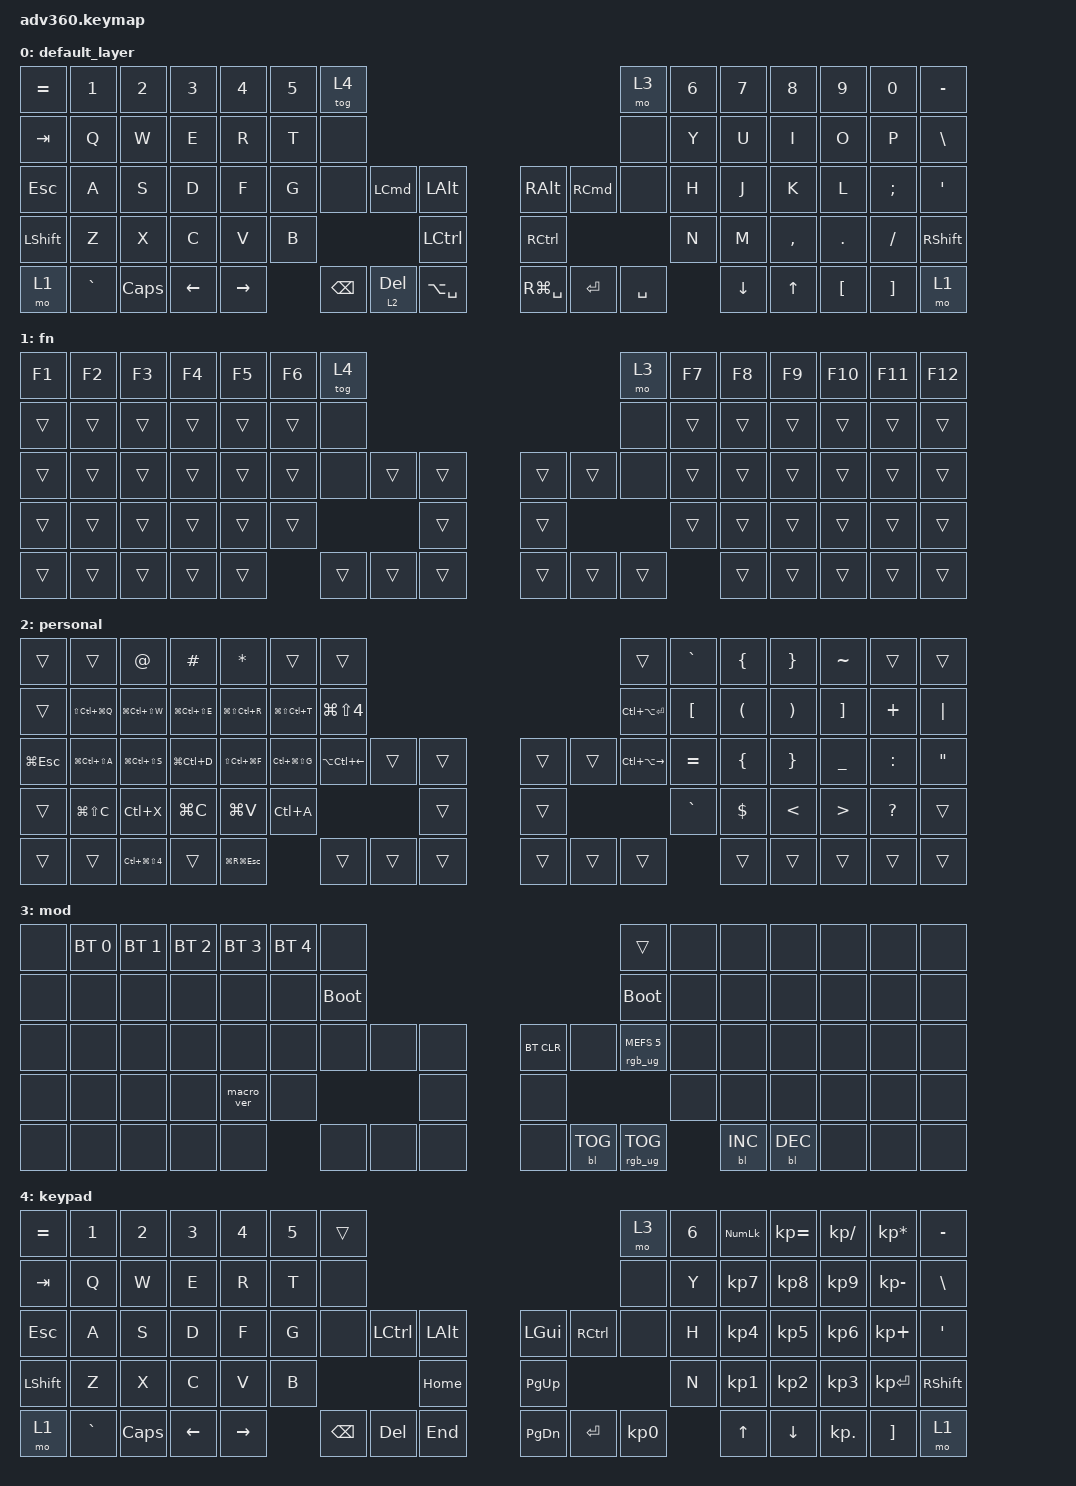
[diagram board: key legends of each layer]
#include <behaviors.dtsi>
#include <dt-bindings/zmk/backlight.h>
#include <dt-bindings/zmk/bt.h>
#include <dt-bindings/zmk/keys.h>
#include <dt-bindings/zmk/rgb.h>

/ {
    behaviors {
        #include "macros.dtsi"
      #include "version.dtsi"
      #ifndef VERSION_MACRO

        macro_ver: macro_ver {
            compatible = "zmk,behavior-macro";
            label = "macro_version";
            #binding-cells = <0>;
            bindings = <&kp RET>;
        };

        #endif

        hm: homerow_mods {
            compatible = "zmk,behavior-hold-tap";
            label = "HOMEROW_MODS";
            #binding-cells = <2>;
            tapping-term-ms = <200>;
            quick_tap_ms = <175>;
            flavor = "tap-preferred";
            bindings = <&kp>, <&kp>;
        };

        hml: hml {
            compatible = "zmk,behavior-hold-tap";
            label = "HOME_ROW_MODS_LEFT";
            bindings = <&kp>, <&kp>;

            #binding-cells = <2>;
            tapping-term-ms = <280>;
            quick-tap-ms = <175>;
            require-prior-idle-ms = <150>;
            flavor = "balanced";
            hold-trigger-on-release;
            hold-trigger-key-positions = <29 30 31 32 35 36 52 65 66 67 0 1 2 3 4 5 6 14 15 16 17 18 19 20 28 29 30 31 32 33 34 35 46 47 48 49 50 51 60 61 62 63 64>;
        };

        hmr: hmr {
            compatible = "zmk,behavior-hold-tap";
            label = "HOME_ROW_MODS_RIGHT";
            bindings = <&kp>, <&kp>;

            #binding-cells = <2>;
            tapping-term-ms = <280>;
            quick-tap-ms = <175>;
            require-prior-idle-ms = <150>;
            flavor = "balanced";
            hold-trigger-on-release;
            hold-trigger-key-positions = <7 8 9 10 11 12 13 21 22 23 24 25 26 27 38 39 40 41 42 43 44 45 53 54 55 56 57 58 59 68 69 70 71 72 73 74 75 37>;
        };
    };

    macros {
    };

    keymap {
        compatible = "zmk,keymap";

        default_layer {
            bindings = <
&kp EQUAL       &kp N1     &kp N2    &kp N3    &kp N4     &kp N5  &tog 4                                                                                       &mo 3      &kp N6  &kp N7    &kp N8        &kp N9    &kp N0    &kp MINUS
&kp TAB         &kp Q      &kp W     &kp E     &kp R      &kp T   &none                                                                                        &none      &kp Y   &kp U     &kp I         &kp O     &kp P     &kp BSLH
&kp ESC         &kp A      &kp S     &kp D     &kp F      &kp G   &none          &kp LEFT_COMMAND  &kp LEFT_ALT          &kp RIGHT_ALT      &kp RIGHT_COMMAND  &none      &kp H   &kp J     &kp K         &kp L     &kp SEMI  &kp SQT
&kp LEFT_SHIFT  &kp Z      &kp X     &kp C     &kp V      &kp B                                    &kp LEFT_CONTROL      &kp RIGHT_CONTROL                                &kp N   &kp M     &kp COMMA     &kp DOT   &kp FSLH  &kp RIGHT_SHIFT
&mo 1           &kp GRAVE  &kp CAPS  &kp LEFT  &kp RIGHT          &kp BACKSPACE  &lt 2 DELETE      &kp LA(SPACE)         &kp RG(SPACE)      &kp ENTER          &kp SPACE          &kp DOWN  &kp UP_ARROW  &kp LBKT  &kp RBKT  &mo 1
            >;
        };

        fn {
            bindings = <
&kp F1  &kp F2  &kp F3  &kp F4  &kp F5  &kp F6  &tog 4                                      &mo 3   &kp F7  &kp F8  &kp F9  &kp F10  &kp F11  &kp F12
&trans  &trans  &trans  &trans  &trans  &trans  &none                                       &none   &trans  &trans  &trans  &trans   &trans   &trans
&trans  &trans  &trans  &trans  &trans  &trans  &none   &trans  &trans      &trans  &trans  &none   &trans  &trans  &trans  &trans   &trans   &trans
&trans  &trans  &trans  &trans  &trans  &trans                  &trans      &trans                  &trans  &trans  &trans  &trans   &trans   &trans
&trans  &trans  &trans  &trans  &trans          &trans  &trans  &trans      &trans  &trans  &trans          &trans  &trans  &trans   &trans   &trans
            >;
        };

        personal {
            bindings = <
&trans       &trans             &kp AT_SIGN               &kp HASH           &kp ASTERISK       &trans             &trans                                                    &trans             &kp GRAVE         &kp LEFT_BRACE        &kp RIGHT_BRACE        &kp TILDE          &trans        &trans
&trans       &kp LS(LC(LG(Q)))  &kp LG(LC(LS(W)))         &kp LG(LC(LS(E)))  &kp LG(LS(LC(R)))  &kp LG(LS(LC(T)))  &kp LG(LS(NUMBER_4))                                      &kp LC(LA(ENTER))  &kp LEFT_BRACKET  &kp LEFT_PARENTHESIS  &kp RIGHT_PARENTHESIS  &kp RIGHT_BRACKET  &kp PLUS      &kp PIPE
&kp LG(ESC)  &kp LG(LC(LS(A)))  &kp LG(LC(LS(S)))         &kp LG(LC(D))      &kp LS(LC(LG(F)))  &kp LC(LG(LS(G)))  &kp LA(LC(LEFT))      &trans  &trans      &trans  &trans  &kp LC(LA(RIGHT))  &kp EQUAL         &kp LEFT_BRACE        &kp RIGHT_BRACE        &kp UNDERSCORE     &kp COLON     &kp DOUBLE_QUOTES
&trans       &kp LG(LS(C))      &kp LC(X)                 &kp LG(C)          &kp LG(V)          &kp LC(A)                                        &trans      &trans                             &kp GRAVE         &kp DOLLAR            &kp LESS_THAN          &kp GREATER_THAN   &kp QUESTION  &trans
&trans       &trans             &kp LC(LG(LS(NUMBER_4)))  &trans             &kp LG(RG(ESC))                       &trans                &trans  &trans      &trans  &trans  &trans                               &trans                &trans                 &trans             &trans        &trans
            >;
        };

        mod {
            bindings = <
&none  &bt BT_SEL 0  &bt BT_SEL 1  &bt BT_SEL 2  &bt BT_SEL 3  &bt BT_SEL 4  &none                                                  &trans                  &none  &none       &none       &none  &none  &none
&none  &none         &none         &none         &none         &none         &bootloader                                            &bootloader             &none  &none       &none       &none  &none  &none
&none  &none         &none         &none         &none         &none         &none        &none  &none      &bt BT_CLR  &none       &rgb_ug RGB_MEFS_CMD 5  &none  &none       &none       &none  &none  &none
&none  &none         &none         &none         &macro_ver    &none                             &none      &none                                           &none  &none       &none       &none  &none  &none
&none  &none         &none         &none         &none                       &none        &none  &none      &none       &bl BL_TOG  &rgb_ug RGB_TOG                &bl BL_INC  &bl BL_DEC  &none  &none  &none
            >;
        };

        keypad {
            bindings = <
&kp EQUAL  &kp N1     &kp N2    &kp N3    &kp N4     &kp N5  &trans                                                   &mo 3      &kp N6  &kp KP_NUM  &kp KP_EQUAL  &kp KP_DIVIDE  &kp KP_MULTIPLY  &kp MINUS
&kp TAB    &kp Q      &kp W     &kp E     &kp R      &kp T   &none                                                    &none      &kp Y   &kp KP_N7   &kp KP_N8     &kp KP_N9      &kp KP_MINUS     &kp BSLH
&kp ESC    &kp A      &kp S     &kp D     &kp F      &kp G   &none     &kp LCTRL  &kp LALT      &kp LGUI   &kp RCTRL  &none      &kp H   &kp KP_N4   &kp KP_N5     &kp KP_N6      &kp KP_PLUS      &kp SQT
&kp LSHFT  &kp Z      &kp X     &kp C     &kp V      &kp B                        &kp HOME      &kp PG_UP                        &kp N   &kp KP_N1   &kp KP_N2     &kp KP_N3      &kp KP_ENTER     &kp RSHFT
&mo 1      &kp GRAVE  &kp CAPS  &kp LEFT  &kp RIGHT          &kp BSPC  &kp DEL    &kp END       &kp PG_DN  &kp ENTER  &kp KP_N0          &kp UP      &kp DOWN      &kp KP_DOT     &kp RBKT         &mo 1
            >;
        };
    };
};
